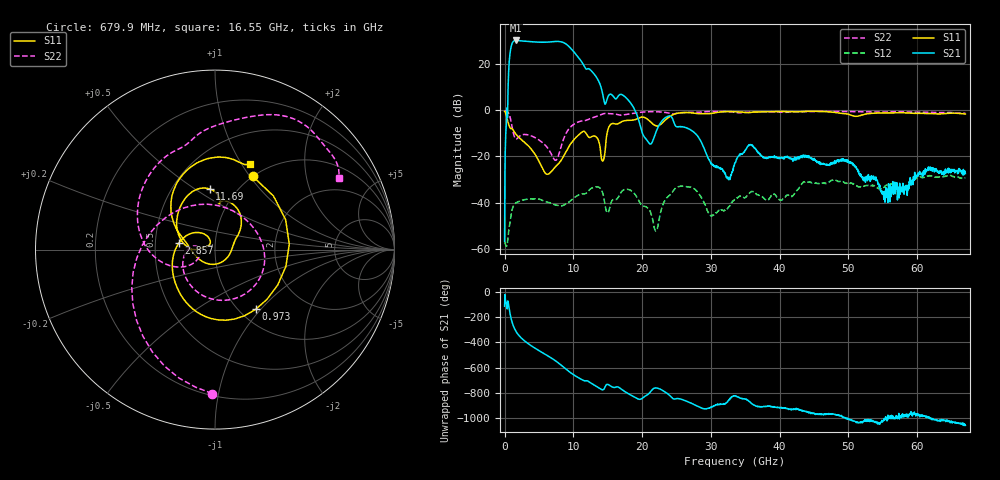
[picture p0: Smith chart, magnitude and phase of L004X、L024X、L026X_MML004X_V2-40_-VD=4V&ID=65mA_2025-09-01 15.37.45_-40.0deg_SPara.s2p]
!Keysight Technologies,N5247B,MY63057157,A.17.10.07
!Date: Monday, September 01, 2025 15:44:42
!Correction: S11(C  2-Port  )
!S21(C  2-Port  )
!S12(C  2-Port  )
!S22(C  2-Port  )
!S2P File: Measurements: S11, S21, S12, S22:
# Hz S  dB  R 50
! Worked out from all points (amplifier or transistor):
!   1601 points, 10 MHz to 67 GHz, reference 50 ohm
!   highest |S21| = 30.3 dB at 1.685 GHz (marker M1)
!   |S21| within 3 dB of that: 935.3 MHz to 9.495 GHz (8.56 GHz wide, 164 % of centre)
!   unconditionally stable (mu >= 1): start of sweep to end of sweep
!   at 11.15 GHz: K = 1.85, MAG = 23.4 dB, |S12| = -36.2 dB
!   at 33.51 GHz: K = 15.91, MAG = -7.0 dB, |S12| = -38.8 dB
!   at 67 GHz: K = 26.66, MAG = -16.2 dB, |S12| = -29.5 dB
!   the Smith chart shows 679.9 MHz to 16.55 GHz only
!   S11 on the Smith chart (normalised r, x): 679.9 MHz: 1.00, +1.03; 973 MHz: 1.18, -0.94; 2.857 GHz: 0.66, +0.05; 11.69 GHz: 0.75, +0.58; 16.55 GHz: 0.84, +1.08
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1e7  -0.45 -26.7  -56.81 -114.3  -57.17 -138.9  -0.15 -12.1
6.799e8  -6.76 62.8  21.05 -135.4  -50.50 -138.3  -1.92 -91.1
9.729812e8  -7.90 -55.8  27.78 145.5  -44.79 161.2  -5.21 -146.6
1.307931e9  -8.88 -107.2  29.91 86.8  -41.33 116.1  -10.19 138.0
1.68475e9  -10.51 -135.2  30.26 45.2  -40.03 85.0  -12.50 58.3
2.187175e9  -12.02 -161.6  30.15 8.7  -39.43 60.6  -11.22 -3.1
2.857075e9  -13.75 170.1  29.95 -25.8  -38.84 41.6  -10.49 -44.4
3.778188e9  -16.44 141.4  29.73 -62.9  -38.43 21.7  -10.99 -86.0
4.741169e9  -20.65 121.2  29.56 -96.5  -38.48 5.0  -12.38 -124.8
5.913494e9  -27.23 128.8  29.50 -134.4  -39.54 -8.8  -15.14 -168.7
7.127688e9  -25.45 163.6  29.76 -175.3  -40.80 -14.5  -20.88 173.6
7.965062e9  -22.76 172.3  29.79 151.7  -41.39 -11.7  -18.40 -149.5
8.886175e9  -18.23 179.5  28.82 111.0  -40.69 -4.2  -10.35 -166.6
9.932894e9  -13.31 158.7  25.85 67.6  -38.36 -4.8  -6.38 154.2
1.118896e10  -9.60 119.7  21.11 26.6  -36.22 -21.1  -4.64 118.1
1.169138e10  -9.39 95.1  18.52 15.6  -36.23 -24.9  -4.46 107.9
1.654816e10  -5.80 68.0  6.23 -34.2  -37.67 -55.1  -1.96 30.1
2.236791e10  -6.72 -2.7  -7.07 -44.4  -49.06 29.2  -0.67 -20.8
3.3505e10  -0.67 -84.1  -22.72 -101.7  -38.83 -126.8  -0.91 -79.0
4.468396e10  -0.44 -130.1  -20.88 123.4  -31.49 165.0  -0.56 -115.4
5.586291e10  -1.13 -157.7  -33.04 85.7  -31.95 111.5  -0.73 -150.1
6.7e10  -1.63 173.4  -27.42 23.2  -29.49 45.6  -1.22 175.0
